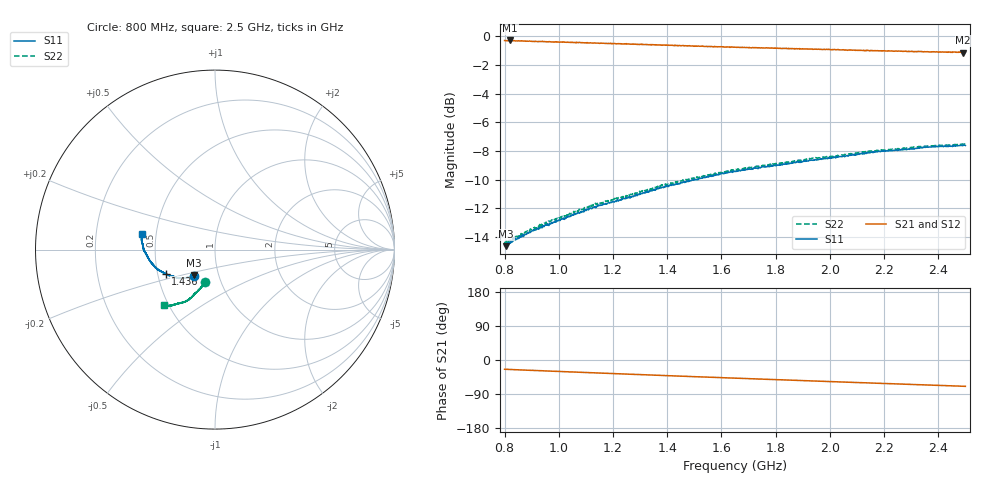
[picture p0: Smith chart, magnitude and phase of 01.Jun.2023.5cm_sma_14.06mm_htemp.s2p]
!Keysight Technologies N9950B: A.12.38
!Date: Thursday, 01 June 2023 13:49:02
!Timezone: (UTC-06:00) Central Time (US & Canada)
!Model: N9950B
!Serial: MY61131330
!GPS Latitude:
!GPS Longitude:
!GPS TimeStamp: 0001-01-01 00:00:00Z
!GPS Seconds Since Last Read: 0
!CHECKSUM:1632191688
!Correction: S11(ON U)S21(ON U)S12(ON U)S22(ON U)
!S2P File: Measurements:S11,S21,S12,S22:
# Hz S DB R 50
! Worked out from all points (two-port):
!   1001 points, 800 MHz to 2.5 GHz, reference 50 ohm
!   highest |S21| = -0.28 dB at 820.4 MHz (marker M1); lowest = -1.1 dB at 2.491 GHz (marker M2)
!   |S21| within 3 dB of the highest: start of sweep to end of sweep
!   lowest |S11| = -14.6 dB at 805.1 MHz (marker M3), VSWR 1.45, Z = 38 - j11.3 ohm
!   |S11| at or under -10 dB: start of sweep to 1.5 GHz; 1.501714 GHz to 1.504582 GHz (2.868 MHz wide, 0.191 % of centre); 1.511514 GHz to 1.51254 GHz (1.026 MHz wide, 0.0679 % of centre)
!   |S22| runs from -14.5 to -7.5 dB; largest |S21 - S12| = 0.0049
!   S11 on the Smith chart (normalised r, x): 800 MHz: 0.76, -0.23; 1.436 GHz: 0.55, -0.16; 2.5 GHz: 0.42, +0.09
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8e8  -14.60 -129.0  -0.29 -24.4  -0.29 -24.4  -14.45 -106.9
8.051e8  -14.65 -129.4  -0.29 -24.5  -0.31 -24.5  -14.44 -106.3
8.204e8  -14.37 -130.3  -0.28 -25.1  -0.31 -25.0  -14.27 -107.3
8.867e8  -13.73 -131.7  -0.34 -26.9  -0.33 -27.0  -13.60 -108.4
9.496e8  -13.15 -134.8  -0.36 -28.8  -0.38 -28.8  -13.09 -110.3
9.683e8  -13.05 -134.9  -0.37 -29.3  -0.40 -29.3  -12.92 -110.4
1.0839e9  -12.29 -139.5  -0.43 -32.5  -0.44 -32.5  -12.11 -112.2
1.1111e9  -12.04 -140.4  -0.45 -33.3  -0.46 -33.3  -11.87 -112.8
1.1893e9  -11.61 -143.3  -0.49 -35.5  -0.51 -35.5  -11.41 -114.1
1.2709e9  -11.16 -146.9  -0.53 -37.7  -0.54 -37.8  -11.02 -115.2
1.3678e9  -10.64 -151.1  -0.60 -40.5  -0.61 -40.6  -10.48 -116.5
1.4358e9  -10.27 -153.9  -0.63 -42.3  -0.64 -42.2  -10.18 -117.4
1.5446e9  -9.84 -158.0  -0.70 -45.1  -0.70 -45.2  -9.75 -118.9
1.65e9  -9.42 -161.1  -0.75 -47.9  -0.76 -47.9  -9.28 -121.0
1.8234e9  -8.93 -166.8  -0.84 -52.3  -0.85 -52.4  -8.83 -124.0
1.9339e9  -8.65 -170.8  -0.87 -55.2  -0.89 -55.2  -8.50 -125.5
2.0308e9  -8.43 -174.7  -0.91 -57.7  -0.94 -57.8  -8.34 -126.8
2.1124e9  -8.21 -177.6  -0.97 -59.8  -1.00 -59.7  -8.09 -127.7
2.2178e9  -7.97 178.8  -1.01 -62.4  -1.02 -62.4  -7.89 -129.1
2.3878e9  -7.67 172.7  -1.07 -66.6  -1.09 -66.6  -7.62 -131.2
2.4915e9  -7.62 168.6  -1.13 -69.3  -1.11 -69.2  -7.52 -132.3
2.5e9  -7.62 168.2  -1.12 -69.5  -1.13 -69.5  -7.52 -132.5
